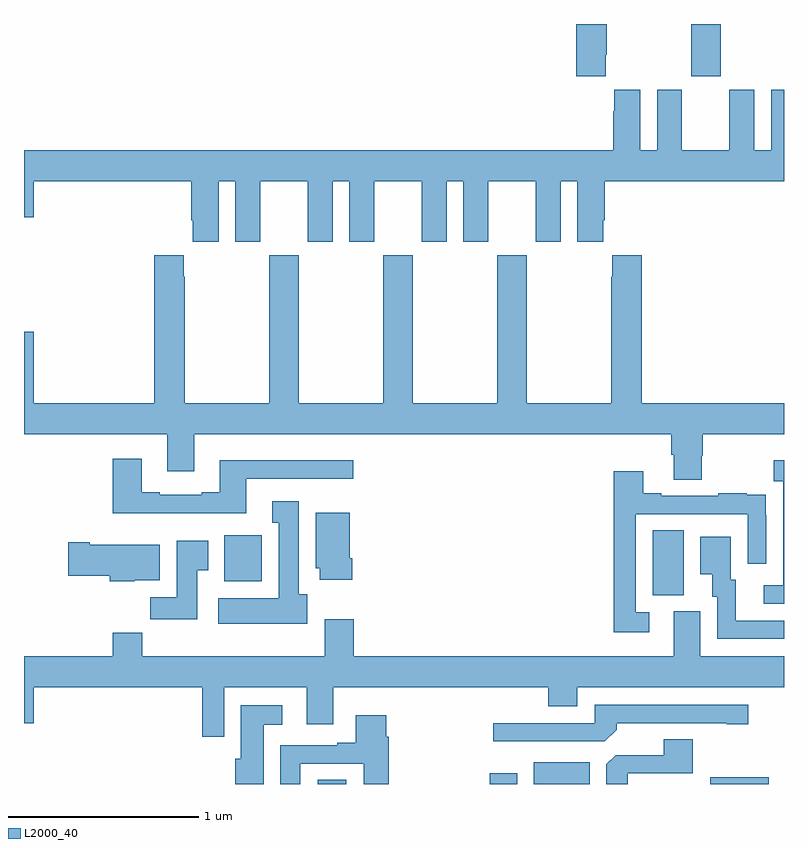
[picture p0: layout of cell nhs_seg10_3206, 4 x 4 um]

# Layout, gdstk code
import gdstk
lib = gdstk.Library(unit=1e-6, precision=1e-09)
def R(c, l, rs):  # rectangles x0, y0, x1, y1
    for r in rs: c.add(gdstk.rectangle(r[:2], r[2:], *l))
def P(c, l, *ps):  # polygons
    for p in ps: c.add(gdstk.Polygon(p, *l))
L2000_40 = (2000, 40)

nhs_seg10_3206 = lib.new_cell('nhs_seg10_3206')
R(nhs_seg10_3206, L2000_40, [(286.547,1274.5,286.696,1274.522), (287.45,1274.5,287.596,1274.557), (287.684,1274.5,287.977,1274.614), (288.612,1274.5,288.919,1274.536), (288.308,1275.493,288.472,1275.836), (286.055,1275.566,286.252,1275.808), (288.511,1278.225,288.666,1278.5)])
P(nhs_seg10_3206, L2000_40, [(288.061,1278.337),(288.066,1278.337),(288.066,1278.5),(287.906,1278.5),(287.906,1278.225),(288.061,1278.225)],
  [(286.024,1277.672),(286.112,1277.672),(286.112,1277.355),(286.243,1277.355),(286.243,1277.672),(286.493,1277.672),(286.493,1277.355),(286.624,1277.355),(286.624,1277.672),(286.712,1277.672),(286.712,1277.355),(286.843,1277.355),(286.843,1277.672),(287.093,1277.672),(287.093,1277.355),(287.224,1277.355),(287.224,1277.672),(287.312,1277.672),(287.312,1277.355),(287.443,1277.355),(287.443,1277.672),(287.693,1277.672),(287.693,1277.355),(287.824,1277.355),(287.824,1277.672),(287.912,1277.672),(287.912,1277.355),(288.049,1277.355),(288.049,1277.467),(288.056,1277.467),(288.056,1277.672),(289,1277.672),(289,1278.154),(288.932,1278.154),(288.932,1277.836),(288.844,1277.836),(288.844,1278.154),(288.713,1278.154),(288.713,1277.836),(288.463,1277.836),(288.463,1278.154),(288.332,1278.154),(288.332,1277.836),(288.244,1277.836),(288.244,1278.154),(288.107,1278.154),(288.107,1278.041),(288.101,1278.041),(288.101,1277.836),(285,1277.836),(285,1277.484),(285.052,1277.484),(285.052,1277.672),(285.881,1277.672),(285.881,1277.467),(285.887,1277.467),(285.887,1277.355),(286.024,1277.355)],
  [(288.567,1276.227),(288.572,1276.227),(288.572,1276.34),(289,1276.34),(289,1276.504),(288.251,1276.504),(288.251,1277.284),(288.095,1277.284),(288.095,1277.171),(288.091,1277.171),(288.091,1276.504),(287.646,1276.504),(287.646,1277.284),(287.491,1277.284),(287.491,1276.504),(287.046,1276.504),(287.046,1277.284),(286.891,1277.284),(286.891,1276.504),(286.446,1276.504),(286.446,1277.284),(286.291,1277.284),(286.291,1276.504),(285.846,1276.504),(285.846,1277.171),(285.841,1277.171),(285.841,1277.284),(285.686,1277.284),(285.686,1276.504),(285.052,1276.504),(285.052,1276.879),(285,1276.879),(285,1276.34),(285.755,1276.34),(285.755,1276.146),(285.895,1276.146),(285.895,1276.34),(288.407,1276.34),(288.407,1276.234),(288.419,1276.234),(288.419,1276.102),(288.567,1276.102)],
  [(286.171,1276.107),(286.732,1276.107),(286.732,1276.204),(286.031,1276.204),(286.031,1276.036),(285.935,1276.036),(285.935,1276.023),(285.715,1276.023),(285.715,1276.036),(285.619,1276.036),(285.619,1276.213),(285.467,1276.213),(285.467,1275.926),(286.171,1275.926)],
  [(289,1276.204),(288.945,1276.204),(288.945,1276.094),(288.996,1276.094),(288.996,1275.546),(288.894,1275.546),(288.894,1275.45),(289,1275.45)],
  [(288.292,1275.405),(288.219,1275.405),(288.219,1275.921),(288.81,1275.921),(288.81,1275.66),(288.906,1275.66),(288.906,1275.914),(288.905,1275.914),(288.905,1276.023),(288.803,1276.023),(288.803,1276.03),(288.655,1276.03),(288.655,1276.017),(288.355,1276.017),(288.355,1276.03),(288.259,1276.03),(288.259,1276.147),(288.103,1276.147),(288.103,1275.3),(288.292,1275.3)],
  [(286.492,1275.498),(286.447,1275.498),(286.447,1275.988),(286.307,1275.988),(286.307,1275.875),(286.34,1275.875),(286.34,1275.478),(286.023,1275.478),(286.023,1275.344),(286.492,1275.344)],
  [(286.727,1275.688),(286.714,1275.688),(286.714,1275.928),(286.535,1275.928),(286.535,1275.636),(286.556,1275.636),(286.556,1275.576),(286.727,1275.576)],
  [(289,1275.36),(288.745,1275.36),(288.745,1275.576),(288.721,1275.576),(288.721,1275.802),(288.56,1275.802),(288.56,1275.605),(288.623,1275.605),(288.623,1275.486),(288.648,1275.486),(288.648,1275.264),(289,1275.264)],
  [(285.913,1275.625),(285.97,1275.625),(285.97,1275.781),(285.803,1275.781),(285.803,1275.484),(285.664,1275.484),(285.664,1275.366),(285.913,1275.366)],
  [(285.582,1275.572),(285.715,1275.572),(285.715,1275.76),(285.346,1275.76),(285.346,1275.773),(285.234,1275.773),(285.234,1275.595),(285.452,1275.595),(285.452,1275.566),(285.582,1275.566)],
  [(286.053,1275.008),(286.487,1275.008),(286.487,1274.814),(286.627,1274.814),(286.627,1275.008),(287.759,1275.008),(287.759,1274.909),(287.911,1274.909),(287.911,1275.008),(289,1275.008),(289,1275.172),(288.559,1275.172),(288.559,1275.408),(288.419,1275.408),(288.419,1275.172),(286.736,1275.172),(286.736,1275.367),(286.583,1275.367),(286.583,1275.172),(285.623,1275.172),(285.623,1275.296),(285.467,1275.296),(285.467,1275.172),(285,1275.172),(285,1274.82),(285.052,1274.82),(285.052,1275.008),(285.937,1275.008),(285.937,1274.748),(286.053,1274.748)],
  [(288.119,1274.786),(288.119,1274.82),(288.698,1274.82),(288.698,1274.815),(288.811,1274.815),(288.811,1274.916),(288.003,1274.916),(288.003,1274.82),(287.469,1274.82),(287.469,1274.724),(288.057,1274.724)],
  [(286.261,1274.813),(286.36,1274.813),(286.36,1274.914),(286.142,1274.914),(286.142,1274.634),(286.112,1274.634),(286.112,1274.5),(286.261,1274.5)],
  [(286.453,1274.607),(286.787,1274.607),(286.787,1274.5),(286.919,1274.5),(286.919,1274.75),(286.906,1274.75),(286.906,1274.863),(286.745,1274.863),(286.745,1274.716),(286.649,1274.716),(286.649,1274.703),(286.349,1274.703),(286.349,1274.5),(286.453,1274.5)],
  [(288.177,1274.556),(288.521,1274.556),(288.521,1274.735),(288.368,1274.735),(288.368,1274.652),(288.114,1274.652),(288.065,1274.603),(288.065,1274.5),(288.177,1274.5)])

lib.write_gds('nhs_seg10_3206.gds')
